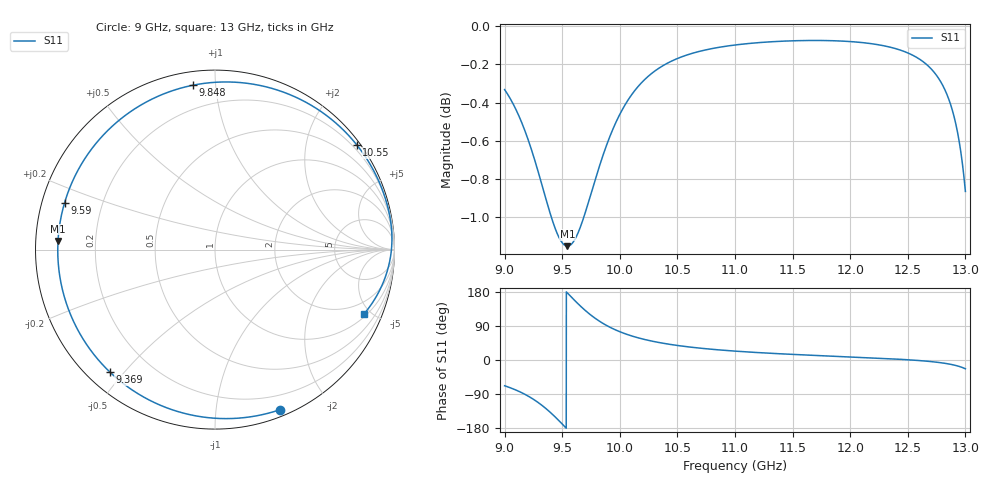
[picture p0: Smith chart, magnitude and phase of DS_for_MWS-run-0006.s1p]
! TOUCHSTONE file generated by CST DESIGN STUDIO
! Date and time: Tue Feb  4 18:04:54 2025
! Project name: C:\Work\MatlabApps\UnitCellOptimizationMatlab\CST\unitcell.cst
! Tree item: Tasks\Sweep1\SPara1\S-Parameters
! Header version: 2024
! Port assignment regex: !\s*Touchstone port\s*([0-9]+)\s*=\s*(CST MWS port|CST DES external port|CST DES block port)\s*(.+)\s* \(\"(.*)\"\)(\s*mode\s*([0-9]+))?.*
! Touchstone port assignment:
! Touchstone port 1 = CST DES external port 1 ("")
# GHz S MA R 50
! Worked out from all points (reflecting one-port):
!   4001 points, 9 GHz to 13 GHz, reference 50 ohm
!   lowest |S11| = -1.1 dB at 9.545 GHz (marker M1), VSWR 15.13, Z = 3.31 + j1.36 ohm
!   phase of S11 starts at -68 deg and turns -315 deg over the sweep
!   S11 on the Smith chart (normalised r, x): 9 GHz: 0.06, -1.48; 9.369 GHz: 0.06, -0.46; 9.59 GHz: 0.07, +0.15; 9.848 GHz: 0.07, +0.87; 10.55 GHz: 0.09, +3.04; 13 GHz: 1.16, -4.60
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9  0.9626 -68.0
9.104  0.9503 -80.0
9.218  0.9313 -97.7
9.297  0.9149 -113.5
9.369  0.899 -130.8
9.44  0.8852 -150.6
9.5  0.8778 -168.9
9.545  0.876 176.9
9.59  0.8777 162.7
9.656  0.8859 142.9
9.717  0.8972 126.4
9.78  0.9104 111.4
9.848  0.924 97.7
9.917  0.9363 86.0
10  0.9483 74.6
10.102  0.9595 63.6
10.216  0.9684 54.1
10.347  0.9753 45.7
10.5  0.9807 38.3
10.547  0.982 36.4
10.75  0.9859 29.6
11  0.9887 23.4
11.5  0.9912 14.8
12  0.9908 8.1
12.5  0.984 0.6
12.804  0.9649 -7.9
12.914  0.9437 -14.2
13  0.9053 -23.2
